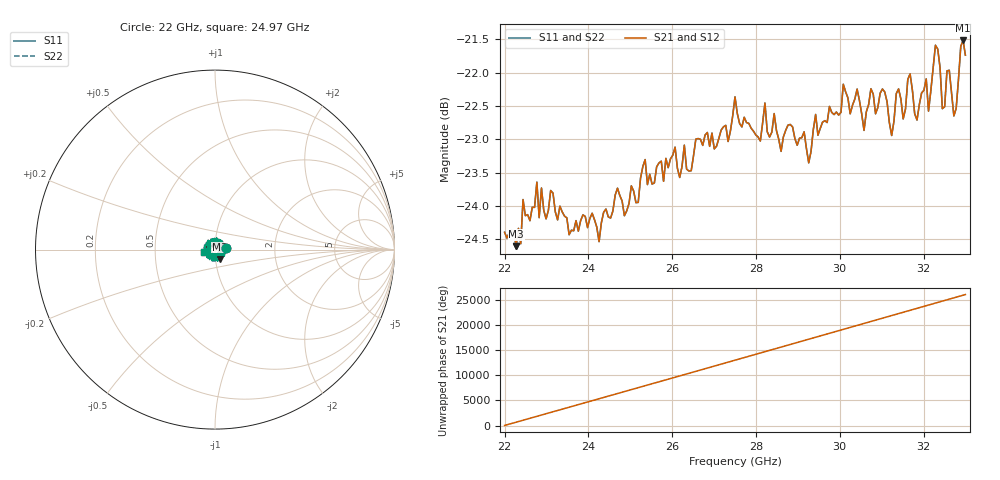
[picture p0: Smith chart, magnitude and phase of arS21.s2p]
!Keysight Technologies,N5224B,MY57181201,A.12.70.07
!Date: Friday, July 15, 2022 11:53:56
!Correction: S11(Response(S21))
!S21(Response(S21))
!S12(Response(S21))
!S22(Response(S21))
!S2P File: Measurements: S11, S21, S12, S22:
# Hz S  dB  R 50
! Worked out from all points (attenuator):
!   201 points, 22 GHz to 33 GHz, reference 50 ohm
!   highest |S21| = -21.52 dB at 32.95 GHz (marker M1); lowest = -24.6 dB at 22.27 GHz (marker M2)
!   lowest |S11| = -24.6 dB at 22.27 GHz (marker M3), VSWR 1.13, Z = 52.5 - j5.5 ohm
!   |S11| at or under -10 dB: start of sweep to end of sweep
!   |S22| runs from -24.6 to -21.5 dB; largest |S21 - S12| = 0
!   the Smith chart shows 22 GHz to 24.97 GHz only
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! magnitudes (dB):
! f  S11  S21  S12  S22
! 22 GHz  -24.4  -24.4  -24.4  -24.4
! 22.27 GHz  -24.6  -24.6  -24.6  -24.6
! 22.77 GHz  -23.6  -23.6  -23.6  -23.6
! 22.82 GHz  -24.2  -24.2  -24.2  -24.2
! 23.87 GHz  -24.1  -24.1  -24.1  -24.1
! 24.25 GHz  -24.5  -24.5  -24.5  -24.5
! 25.68 GHz  -23.4  -23.4  -23.4  -23.4
! 27.34 GHz  -23.0  -23.0  -23.0  -23.0
! 27.5 GHz  -22.4  -22.4  -22.4  -22.4
! 28.6 GHz  -23.2  -23.2  -23.2  -23.2
! 29.37 GHz  -22.9  -22.9  -22.9  -22.9
! 30.09 GHz  -22.2  -22.2  -22.2  -22.2
! 31.18 GHz  -22.8  -22.8  -22.8  -22.8
! 31.68 GHz  -22.0  -22.0  -22.0  -22.0
! 31.84 GHz  -22.7  -22.7  -22.7  -22.7
! 32.12 GHz  -22.6  -22.6  -22.6  -22.6
! 32.28 GHz  -21.6  -21.6  -21.6  -21.6
! 32.45 GHz  -22.5  -22.5  -22.5  -22.5
! 32.62 GHz  -22.0  -22.0  -22.0  -22.0
! 32.73 GHz  -22.7  -22.7  -22.7  -22.7
! 32.95 GHz  -21.5  -21.5  -21.5  -21.5
! 33 GHz  -21.7  -21.7  -21.7  -21.7
